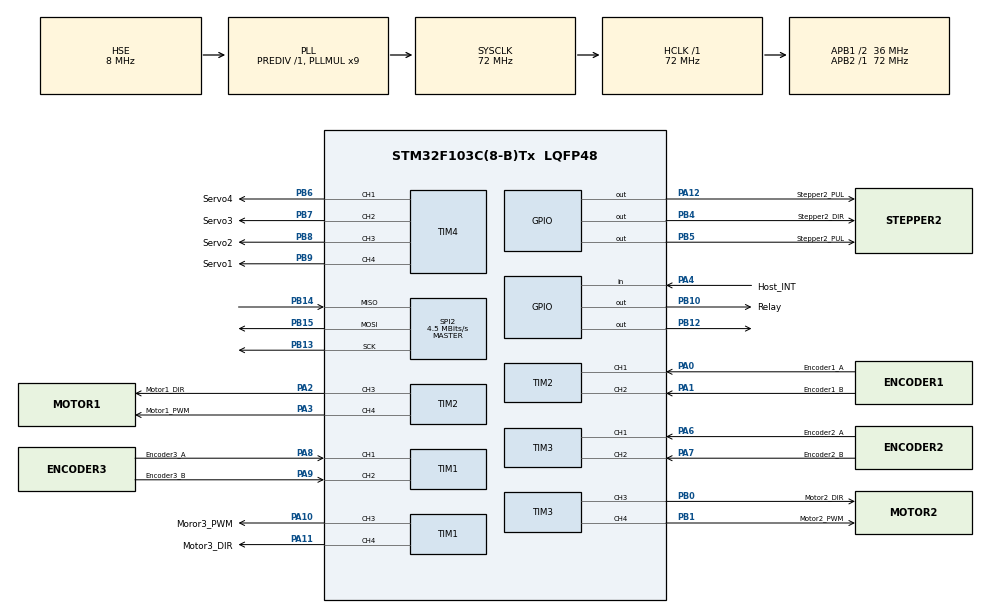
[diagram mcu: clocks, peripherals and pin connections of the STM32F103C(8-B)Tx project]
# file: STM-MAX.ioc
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Mcu.Family=STM32F1
Mcu.Name=STM32F103C(8-B)Tx
Mcu.Package=LQFP48
NVIC.PriorityGroup=NVIC_PRIORITYGROUP_4
PA0-WKUP.GPIO_Label=Encoder1_A
PA0-WKUP.Signal=S_TIM2_CH1_ETR
PA1.GPIO_Label=Encoder1_B
PA1.Signal=S_TIM2_CH2
PA10.GPIO_Label=Moror3_PWM
PA10.Signal=S_TIM1_CH3
PA11.GPIO_Label=Motor3_DIR
PA11.Signal=S_TIM1_CH4
PA12.GPIO_Label=Stepper2_PUL
PA12.Signal=GPIO_Output
PA13.Mode=Trace_Asynchronous_SW
PA13.Signal=SYS_JTMS-SWDIO
PA14.Mode=Trace_Asynchronous_SW
PA14.Signal=SYS_JTCK-SWCLK
PA2.GPIO_Label=Motor1_DIR
PA2.Signal=S_TIM2_CH3
PA3.GPIO_Label=Motor1_PWM
PA3.Signal=S_TIM2_CH4
PA4.GPIO_Label=Host_INT
PA4.GPIO_PuPd=GPIO_PULLUP
PA4.Signal=GPIO_Input
PA6.GPIO_Label=Encoder2_A
PA6.Signal=S_TIM3_CH1
PA7.GPIO_Label=Encoder2_B
PA7.Signal=S_TIM3_CH2
PA8.GPIO_Label=Encoder3_A
PA8.Signal=S_TIM1_CH1
PA9.GPIO_Label=Encoder3_B
PA9.Signal=S_TIM1_CH2
PB0.GPIO_Label=Motor2_DIR
PB0.Signal=S_TIM3_CH3
PB1.GPIO_Label=Motor2_PWM
PB1.Signal=S_TIM3_CH4
PB10.GPIO_Label=Relay
PB10.Signal=GPIO_Output
PB12.GPIO_PuPd=GPIO_PULLUP
PB12.Signal=GPIO_Output
PB13.Mode=Full_Duplex_Master
PB13.Signal=SPI2_SCK
PB14.Mode=Full_Duplex_Master
PB14.Signal=SPI2_MISO
PB15.Mode=Full_Duplex_Master
PB15.Signal=SPI2_MOSI
PB3.Mode=Trace_Asynchronous_SW
PB3.Signal=SYS_JTDO-TRACESWO
PB4.GPIO_Label=Stepper2_DIR
PB4.Signal=GPIO_Output
PB5.GPIO_Label=Stepper2_PUL
PB5.Signal=GPIO_Output
PB6.GPIO_Label=Servo4
PB6.Signal=S_TIM4_CH1
PB7.GPIO_Label=Servo3
PB7.Signal=S_TIM4_CH2
PB8.GPIO_Label=Servo2
PB8.Signal=S_TIM4_CH3
PB9.GPIO_Label=Servo1
PB9.Signal=S_TIM4_CH4
PD0-OSC_IN.Mode=HSE-External-Oscillator
PD0-OSC_IN.Signal=RCC_OSC_IN
PD1-OSC_OUT.Mode=HSE-External-Oscillator
PD1-OSC_OUT.Signal=RCC_OSC_OUT
ProjectManager.HeapSize=0x200
ProjectManager.StackSize=0x400
ProjectManager.TargetToolchain=STM32CubeIDE
RCC.AHBFreq_Value=72000000
RCC.APB1CLKDivider=RCC_HCLK_DIV2
RCC.APB1Freq_Value=36000000
RCC.APB1TimFreq_Value=72000000
RCC.APB2Freq_Value=72000000
RCC.APB2TimFreq_Value=72000000
RCC.HCLKFreq_Value=72000000
RCC.PLLMUL=RCC_PLL_MUL9
RCC.PLLSourceVirtual=RCC_PLLSOURCE_HSE
RCC.SYSCLKFreq_VALUE=72000000
RCC.SYSCLKSource=RCC_SYSCLKSOURCE_PLLCLK
RCC.USBFreq_Value=72000000
SH.S_TIM1_CH1.0=TIM1_CH1,Encoder_Interface
SH.S_TIM1_CH2.0=TIM1_CH2,Encoder_Interface
SH.S_TIM1_CH3.0=TIM1_CH3,PWM Generation3 CH3
SH.S_TIM1_CH4.0=TIM1_CH4,PWM Generation4 CH4
SH.S_TIM2_CH1_ETR.0=TIM2_CH1,Encoder_Interface
SH.S_TIM2_CH2.0=TIM2_CH2,Encoder_Interface
SH.S_TIM2_CH3.0=TIM2_CH3,PWM Generation3 CH3
SH.S_TIM2_CH4.0=TIM2_CH4,PWM Generation4 CH4
SH.S_TIM3_CH1.0=TIM3_CH1,Encoder_Interface
SH.S_TIM3_CH2.0=TIM3_CH2,Encoder_Interface
SH.S_TIM3_CH3.0=TIM3_CH3,PWM Generation3 CH3
SH.S_TIM3_CH4.0=TIM3_CH4,PWM Generation4 CH4
SH.S_TIM4_CH1.0=TIM4_CH1,PWM Generation1 CH1
SH.S_TIM4_CH2.0=TIM4_CH2,PWM Generation2 CH2
SH.S_TIM4_CH3.0=TIM4_CH3,PWM Generation3 CH3
SH.S_TIM4_CH4.0=TIM4_CH4,PWM Generation4 CH4
SPI2.BaudRatePrescaler=SPI_BAUDRATEPRESCALER_8
SPI2.CLKPhase=SPI_PHASE_1EDGE
SPI2.CLKPolarity=SPI_POLARITY_LOW
SPI2.CalculateBaudRate=4.5 MBits/s
SPI2.Direction=SPI_DIRECTION_2LINES
SPI2.Mode=SPI_MODE_MASTER
SPI2.VirtualType=VM_MASTER
TIM1.Channel-PWM\ Generation3\ CH3=TIM_CHANNEL_3
TIM1.Channel-PWM\ Generation4\ CH4=TIM_CHANNEL_4
TIM2.Channel-PWM\ Generation3\ CH3=TIM_CHANNEL_3
TIM2.Channel-PWM\ Generation4\ CH4=TIM_CHANNEL_4
TIM3.Channel-PWM\ Generation3\ CH3=TIM_CHANNEL_3
TIM3.Channel-PWM\ Generation4\ CH4=TIM_CHANNEL_4
TIM4.Channel-PWM\ Generation1\ CH1=TIM_CHANNEL_1
TIM4.Channel-PWM\ Generation2\ CH2=TIM_CHANNEL_2
TIM4.Channel-PWM\ Generation3\ CH3=TIM_CHANNEL_3
TIM4.Channel-PWM\ Generation4\ CH4=TIM_CHANNEL_4
VP_TIM4_VS_ClockSourceINT.Mode=Internal
board=custom

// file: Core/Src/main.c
/* USER CODE BEGIN Header */
/**
  ******************************************************************************
  * @file           : main.c
  * @brief          : Main program body
  ******************************************************************************
  * @attention
  *
  * <h2><center>&copy; Copyright (c) 2021 STMicroelectronics.
  * All rights reserved.</center></h2>
  *
  * This software component is licensed by ST under BSD 3-Clause license,
  * the "License"; You may not use this file except in compliance with the
  * License. You may obtain a copy of the License at:
  *                        opensource.org/licenses/BSD-3-Clause
  *
  ******************************************************************************
  */
/* USER CODE END Header */
#include "main.h"

/* USER CODE BEGIN Includes */
#include<stdio.h>
#include "max3421e.h"
#include "maxregisters.h"
#include "redGearUSB.h"
/* USER CODE END Includes */

SPI_HandleTypeDef hspi2;

TIM_HandleTypeDef htim1;
TIM_HandleTypeDef htim2;
TIM_HandleTypeDef htim3;
TIM_HandleTypeDef htim4;

void SystemClock_Config(void);
static void MX_GPIO_Init(void);
static void MX_SPI2_Init(void);
static void MX_TIM1_Init(void);
static void MX_TIM2_Init(void);
static void MX_TIM3_Init(void);
static void MX_TIM4_Init(void);
/* USER CODE BEGIN PFP */
// void regWr(uint8_t reg,uint8_t data);
// void regWrN(uint8_t reg,uint8_t* data, int nbytes);
// uint8_t regRd(uint8_t reg);
// uint8_t revisionRd();
// uint8_t maxInit();
/* USER CODE END PFP */

/* USER CODE BEGIN 0 */
int _write(int file, char *ptr, int len){
	for(int i = 0; i < len; i++) {
		ITM_SendChar((*ptr++));
	}
	return len;
}
/* USER CODE END 0 */

int main(void)
{

  /* MCU Configuration--------------------------------------------------------*/

  /* Reset of all peripherals, Initializes the Flash interface and the Systick. */
  HAL_Init();

  /* Configure the system clock */
  SystemClock_Config();

  /* Initialize all configured peripherals */
  MX_GPIO_Init();
  MX_SPI2_Init();
  MX_TIM1_Init();
  MX_TIM2_Init();
  MX_TIM3_Init();
  MX_TIM4_Init();
  /* USER CODE BEGIN 2 */
  if(maxInit(&hspi2)){
	  goto NO;
  }
  HAL_Delay(10);
//uint8_t HRSL = USB_enumerate(&hspi2); //This enumerates the USB and sets it's address to 0x01
//while(!(USBgetDescriptor(&hspi2)));
//printf("fin: %x\n",USBgetDescriptor(&hspi2));
//printf("meh\n");
//uint8_t HRSL = USB_enumerate(&hspi2);
  allEp[0].epAddr = 0x00;
	allEp[0].maxPktSize = 0x40;
	allEp[0].bmNakPower = 0x0e;
	allEp[1].epAddr = 0x01;
	allEp[1].epAttribs = 0x03;
	allEp[1].bmSndToggle = 0x00;
	allEp[1].bmRcvToggle = 0x00;
	allEp[1].maxPktSize = 0x20;
	allEp[1].bmNakPower = 0x01;
	allEp[2].epAddr = 0x02;
	allEp[2].epAttribs = 0x03;
	allEp[2].bmSndToggle = 0x00;
	allEp[2].bmRcvToggle = 0x00;
	allEp[2].maxPktSize = 0x20;
	allEp[2].bmNakPower = 0x01;
  uint8_t HRSL = RGinit(&hspi2);
  USBgetDescriptor(&hspi2);
  printf("Init: %x\n",HRSL);
  printf("Done! set address to %x\n",regRd(&hspi2,rPERADDR));
  // printf("HID descriptor: %x\n",RGgetHIDreportDescriptor(&hspi2));
  uint8_t temp;
  temp = RGpoll(&hspi2);
	  if(temp != 0x04){
		  printf("poll RG: %x\n",temp);
	  }
	  HAL_Delay(4);
//  for(int i = 0; i < 10; i++){
//
//  }
  /* USER CODE END 2 */

  /* Infinite loop */
  while (1)
  {

    /* USER CODE BEGIN 3 */
  }
  NO:
  printf("Couldn't connect to max!\n");
  /* USER CODE END 3 */
}

void SystemClock_Config(void)
{
  RCC_OscInitTypeDef RCC_OscInitStruct = {0};
  RCC_ClkInitTypeDef RCC_ClkInitStruct = {0};

  /** Initializes the RCC Oscillators according to the specified parameters
  * in the RCC_OscInitTypeDef structure.
  */
  RCC_OscInitStruct.OscillatorType = RCC_OSCILLATORTYPE_HSE;
  RCC_OscInitStruct.HSEState = RCC_HSE_ON;
  RCC_OscInitStruct.HSEPredivValue = RCC_HSE_PREDIV_DIV1;
  RCC_OscInitStruct.HSIState = RCC_HSI_ON;
  RCC_OscInitStruct.PLL.PLLState = RCC_PLL_ON;
  RCC_OscInitStruct.PLL.PLLSource = RCC_PLLSOURCE_HSE;
  RCC_OscInitStruct.PLL.PLLMUL = RCC_PLL_MUL9;
  if (HAL_RCC_OscConfig(&RCC_OscInitStruct) != HAL_OK)
  {
    Error_Handler();
  }
  /** Initializes the CPU, AHB and APB buses clocks
  */
  RCC_ClkInitStruct.ClockType = RCC_CLOCKTYPE_HCLK|RCC_CLOCKTYPE_SYSCLK
                              |RCC_CLOCKTYPE_PCLK1|RCC_CLOCKTYPE_PCLK2;
  RCC_ClkInitStruct.SYSCLKSource = RCC_SYSCLKSOURCE_PLLCLK;
  RCC_ClkInitStruct.AHBCLKDivider = RCC_SYSCLK_DIV1;
  RCC_ClkInitStruct.APB1CLKDivider = RCC_HCLK_DIV2;
  RCC_ClkInitStruct.APB2CLKDivider = RCC_HCLK_DIV1;

  if (HAL_RCC_ClockConfig(&RCC_ClkInitStruct, FLASH_LATENCY_2) != HAL_OK)
  {
    Error_Handler();
  }
}

static void MX_SPI2_Init(void)
{

  /* SPI2 parameter configuration*/
  hspi2.Instance = SPI2;
  hspi2.Init.Mode = SPI_MODE_MASTER;
  hspi2.Init.Direction = SPI_DIRECTION_2LINES;
  hspi2.Init.DataSize = SPI_DATASIZE_8BIT;
  hspi2.Init.CLKPolarity = SPI_POLARITY_LOW;
  hspi2.Init.CLKPhase = SPI_PHASE_1EDGE;
  hspi2.Init.NSS = SPI_NSS_SOFT;
  hspi2.Init.BaudRatePrescaler = SPI_BAUDRATEPRESCALER_8;
  hspi2.Init.FirstBit = SPI_FIRSTBIT_MSB;
  hspi2.Init.TIMode = SPI_TIMODE_DISABLE;
  hspi2.Init.CRCCalculation = SPI_CRCCALCULATION_DISABLE;
  hspi2.Init.CRCPolynomial = 10;
  if (HAL_SPI_Init(&hspi2) != HAL_OK)
  {
    Error_Handler();
  }

}

static void MX_TIM1_Init(void)
{

  TIM_Encoder_InitTypeDef sConfig = {0};
  TIM_MasterConfigTypeDef sMasterConfig = {0};
  TIM_OC_InitTypeDef sConfigOC = {0};
  TIM_BreakDeadTimeConfigTypeDef sBreakDeadTimeConfig = {0};

  htim1.Instance = TIM1;
  htim1.Init.Prescaler = 0;
  htim1.Init.CounterMode = TIM_COUNTERMODE_UP;
  htim1.Init.Period = 65535;
  htim1.Init.ClockDivision = TIM_CLOCKDIVISION_DIV1;
  htim1.Init.RepetitionCounter = 0;
  htim1.Init.AutoReloadPreload = TIM_AUTORELOAD_PRELOAD_DISABLE;
  if (HAL_TIM_PWM_Init(&htim1) != HAL_OK)
  {
    Error_Handler();
  }
  sConfig.EncoderMode = TIM_ENCODERMODE_TI1;
  sConfig.IC1Polarity = TIM_ICPOLARITY_RISING;
  sConfig.IC1Selection = TIM_ICSELECTION_DIRECTTI;
  sConfig.IC1Prescaler = TIM_ICPSC_DIV1;
  sConfig.IC1Filter = 0;
  sConfig.IC2Polarity = TIM_ICPOLARITY_RISING;
  sConfig.IC2Selection = TIM_ICSELECTION_DIRECTTI;
  sConfig.IC2Prescaler = TIM_ICPSC_DIV1;
  sConfig.IC2Filter = 0;
  if (HAL_TIM_Encoder_Init(&htim1, &sConfig) != HAL_OK)
  {
    Error_Handler();
  }
  sMasterConfig.MasterOutputTrigger = TIM_TRGO_RESET;
  sMasterConfig.MasterSlaveMode = TIM_MASTERSLAVEMODE_DISABLE;
  if (HAL_TIMEx_MasterConfigSynchronization(&htim1, &sMasterConfig) != HAL_OK)
  {
    Error_Handler();
  }
  sConfigOC.OCMode = TIM_OCMODE_PWM1;
  sConfigOC.Pulse = 0;
  sConfigOC.OCPolarity = TIM_OCPOLARITY_HIGH;
  sConfigOC.OCNPolarity = TIM_OCNPOLARITY_HIGH;
  sConfigOC.OCFastMode = TIM_OCFAST_DISABLE;
  sConfigOC.OCIdleState = TIM_OCIDLESTATE_RESET;
  sConfigOC.OCNIdleState = TIM_OCNIDLESTATE_RESET;
  if (HAL_TIM_PWM_ConfigChannel(&htim1, &sConfigOC, TIM_CHANNEL_3) != HAL_OK)
  {
    Error_Handler();
  }
  if (HAL_TIM_PWM_ConfigChannel(&htim1, &sConfigOC, TIM_CHANNEL_4) != HAL_OK)
  {
    Error_Handler();
  }
  sBreakDeadTimeConfig.OffStateRunMode = TIM_OSSR_DISABLE;
  sBreakDeadTimeConfig.OffStateIDLEMode = TIM_OSSI_DISABLE;
  sBreakDeadTimeConfig.LockLevel = TIM_LOCKLEVEL_OFF;
  sBreakDeadTimeConfig.DeadTime = 0;
  sBreakDeadTimeConfig.BreakState = TIM_BREAK_DISABLE;
  sBreakDeadTimeConfig.BreakPolarity = TIM_BREAKPOLARITY_HIGH;
  sBreakDeadTimeConfig.AutomaticOutput = TIM_AUTOMATICOUTPUT_DISABLE;
  if (HAL_TIMEx_ConfigBreakDeadTime(&htim1, &sBreakDeadTimeConfig) != HAL_OK)
  {
    Error_Handler();
  }
  HAL_TIM_MspPostInit(&htim1);

}

static void MX_TIM2_Init(void)
{

  TIM_Encoder_InitTypeDef sConfig = {0};
  TIM_MasterConfigTypeDef sMasterConfig = {0};
  TIM_OC_InitTypeDef sConfigOC = {0};

  htim2.Instance = TIM2;
  htim2.Init.Prescaler = 0;
  htim2.Init.CounterMode = TIM_COUNTERMODE_UP;
  htim2.Init.Period = 65535;
  htim2.Init.ClockDivision = TIM_CLOCKDIVISION_DIV1;
  htim2.Init.AutoReloadPreload = TIM_AUTORELOAD_PRELOAD_DISABLE;
  if (HAL_TIM_PWM_Init(&htim2) != HAL_OK)
  {
    Error_Handler();
  }
  sConfig.EncoderMode = TIM_ENCODERMODE_TI1;
  sConfig.IC1Polarity = TIM_ICPOLARITY_RISING;
  sConfig.IC1Selection = TIM_ICSELECTION_DIRECTTI;
  sConfig.IC1Prescaler = TIM_ICPSC_DIV1;
  sConfig.IC1Filter = 0;
  sConfig.IC2Polarity = TIM_ICPOLARITY_RISING;
  sConfig.IC2Selection = TIM_ICSELECTION_DIRECTTI;
  sConfig.IC2Prescaler = TIM_ICPSC_DIV1;
  sConfig.IC2Filter = 0;
  if (HAL_TIM_Encoder_Init(&htim2, &sConfig) != HAL_OK)
  {
    Error_Handler();
  }
  sMasterConfig.MasterOutputTrigger = TIM_TRGO_RESET;
  sMasterConfig.MasterSlaveMode = TIM_MASTERSLAVEMODE_DISABLE;
  if (HAL_TIMEx_MasterConfigSynchronization(&htim2, &sMasterConfig) != HAL_OK)
  {
    Error_Handler();
  }
  sConfigOC.OCMode = TIM_OCMODE_PWM1;
  sConfigOC.Pulse = 0;
  sConfigOC.OCPolarity = TIM_OCPOLARITY_HIGH;
  sConfigOC.OCFastMode = TIM_OCFAST_DISABLE;
  if (HAL_TIM_PWM_ConfigChannel(&htim2, &sConfigOC, TIM_CHANNEL_3) != HAL_OK)
  {
    Error_Handler();
  }
  if (HAL_TIM_PWM_ConfigChannel(&htim2, &sConfigOC, TIM_CHANNEL_4) != HAL_OK)
  {
    Error_Handler();
  }
  HAL_TIM_MspPostInit(&htim2);

}

static void MX_TIM3_Init(void)
{

  TIM_Encoder_InitTypeDef sConfig = {0};
  TIM_MasterConfigTypeDef sMasterConfig = {0};
  TIM_OC_InitTypeDef sConfigOC = {0};

  htim3.Instance = TIM3;
  htim3.Init.Prescaler = 0;
  htim3.Init.CounterMode = TIM_COUNTERMODE_UP;
  htim3.Init.Period = 65535;
  htim3.Init.ClockDivision = TIM_CLOCKDIVISION_DIV1;
  htim3.Init.AutoReloadPreload = TIM_AUTORELOAD_PRELOAD_DISABLE;
  if (HAL_TIM_PWM_Init(&htim3) != HAL_OK)
  {
    Error_Handler();
  }
  sConfig.EncoderMode = TIM_ENCODERMODE_TI1;
  sConfig.IC1Polarity = TIM_ICPOLARITY_RISING;
  sConfig.IC1Selection = TIM_ICSELECTION_DIRECTTI;
  sConfig.IC1Prescaler = TIM_ICPSC_DIV1;
  sConfig.IC1Filter = 0;
  sConfig.IC2Polarity = TIM_ICPOLARITY_RISING;
  sConfig.IC2Selection = TIM_ICSELECTION_DIRECTTI;
  sConfig.IC2Prescaler = TIM_ICPSC_DIV1;
  sConfig.IC2Filter = 0;
  if (HAL_TIM_Encoder_Init(&htim3, &sConfig) != HAL_OK)
  {
    Error_Handler();
  }
  sMasterConfig.MasterOutputTrigger = TIM_TRGO_RESET;
  sMasterConfig.MasterSlaveMode = TIM_MASTERSLAVEMODE_DISABLE;
  if (HAL_TIMEx_MasterConfigSynchronization(&htim3, &sMasterConfig) != HAL_OK)
  {
    Error_Handler();
  }
  sConfigOC.OCMode = TIM_OCMODE_PWM1;
  sConfigOC.Pulse = 0;
  sConfigOC.OCPolarity = TIM_OCPOLARITY_HIGH;
  sConfigOC.OCFastMode = TIM_OCFAST_DISABLE;
  if (HAL_TIM_PWM_ConfigChannel(&htim3, &sConfigOC, TIM_CHANNEL_3) != HAL_OK)
  {
    Error_Handler();
  }
  if (HAL_TIM_PWM_ConfigChannel(&htim3, &sConfigOC, TIM_CHANNEL_4) != HAL_OK)
  {
    Error_Handler();
  }
  HAL_TIM_MspPostInit(&htim3);

}

static void MX_TIM4_Init(void)
{

  TIM_ClockConfigTypeDef sClockSourceConfig = {0};
  TIM_MasterConfigTypeDef sMasterConfig = {0};
  TIM_OC_InitTypeDef sConfigOC = {0};

  htim4.Instance = TIM4;
  htim4.Init.Prescaler = 0;
  htim4.Init.CounterMode = TIM_COUNTERMODE_UP;
  htim4.Init.Period = 65535;
  htim4.Init.ClockDivision = TIM_CLOCKDIVISION_DIV1;
  htim4.Init.AutoReloadPreload = TIM_AUTORELOAD_PRELOAD_DISABLE;
  if (HAL_TIM_Base_Init(&htim4) != HAL_OK)
  {
    Error_Handler();
  }
  sClockSourceConfig.ClockSource = TIM_CLOCKSOURCE_INTERNAL;
  if (HAL_TIM_ConfigClockSource(&htim4, &sClockSourceConfig) != HAL_OK)
  {
    Error_Handler();
  }
  if (HAL_TIM_PWM_Init(&htim4) != HAL_OK)
  {
    Error_Handler();
  }
  sMasterConfig.MasterOutputTrigger = TIM_TRGO_RESET;
  sMasterConfig.MasterSlaveMode = TIM_MASTERSLAVEMODE_DISABLE;
  if (HAL_TIMEx_MasterConfigSynchronization(&htim4, &sMasterConfig) != HAL_OK)
  {
    Error_Handler();
  }
  sConfigOC.OCMode = TIM_OCMODE_PWM1;
  sConfigOC.Pulse = 0;
  sConfigOC.OCPolarity = TIM_OCPOLARITY_HIGH;
  sConfigOC.OCFastMode = TIM_OCFAST_DISABLE;
  if (HAL_TIM_PWM_ConfigChannel(&htim4, &sConfigOC, TIM_CHANNEL_1) != HAL_OK)
  {
    Error_Handler();
  }
  if (HAL_TIM_PWM_ConfigChannel(&htim4, &sConfigOC, TIM_CHANNEL_2) != HAL_OK)
  {
    Error_Handler();
  }
  if (HAL_TIM_PWM_ConfigChannel(&htim4, &sConfigOC, TIM_CHANNEL_3) != HAL_OK)
  {
    Error_Handler();
  }
  if (HAL_TIM_PWM_ConfigChannel(&htim4, &sConfigOC, TIM_CHANNEL_4) != HAL_OK)
  {
    Error_Handler();
  }
  HAL_TIM_MspPostInit(&htim4);

}

static void MX_GPIO_Init(void)
{
  GPIO_InitTypeDef GPIO_InitStruct = {0};

  /* GPIO Ports Clock Enable */
  __HAL_RCC_GPIOD_CLK_ENABLE();
  __HAL_RCC_GPIOA_CLK_ENABLE();
  __HAL_RCC_GPIOB_CLK_ENABLE();

  /*Configure GPIO pin Output Level */
  HAL_GPIO_WritePin(GPIOB, Relay_Pin|GPIO_PIN_12|Stepper2_DIR_Pin|Stepper2_PULB5_Pin, GPIO_PIN_RESET);

  /*Configure GPIO pin Output Level */
  HAL_GPIO_WritePin(Stepper2_PUL_GPIO_Port, Stepper2_PUL_Pin, GPIO_PIN_RESET);

  /*Configure GPIO pin : Host_INT_Pin */
  GPIO_InitStruct.Pin = Host_INT_Pin;
  GPIO_InitStruct.Mode = GPIO_MODE_INPUT;
  GPIO_InitStruct.Pull = GPIO_PULLUP;
  HAL_GPIO_Init(Host_INT_GPIO_Port, &GPIO_InitStruct);

  /*Configure GPIO pins : Relay_Pin Stepper2_DIR_Pin Stepper2_PULB5_Pin */
  GPIO_InitStruct.Pin = Relay_Pin|Stepper2_DIR_Pin|Stepper2_PULB5_Pin;
  GPIO_InitStruct.Mode = GPIO_MODE_OUTPUT_PP;
  GPIO_InitStruct.Pull = GPIO_NOPULL;
  GPIO_InitStruct.Speed = GPIO_SPEED_FREQ_LOW;
  HAL_GPIO_Init(GPIOB, &GPIO_InitStruct);

  /*Configure GPIO pin : PB12 */
  GPIO_InitStruct.Pin = GPIO_PIN_12;
  GPIO_InitStruct.Mode = GPIO_MODE_OUTPUT_PP;
  GPIO_InitStruct.Pull = GPIO_PULLUP;
  GPIO_InitStruct.Speed = GPIO_SPEED_FREQ_LOW;
  HAL_GPIO_Init(GPIOB, &GPIO_InitStruct);

  /*Configure GPIO pin : Stepper2_PUL_Pin */
  GPIO_InitStruct.Pin = Stepper2_PUL_Pin;
  GPIO_InitStruct.Mode = GPIO_MODE_OUTPUT_PP;
  GPIO_InitStruct.Pull = GPIO_NOPULL;
  GPIO_InitStruct.Speed = GPIO_SPEED_FREQ_LOW;
  HAL_GPIO_Init(Stepper2_PUL_GPIO_Port, &GPIO_InitStruct);

}

/* USER CODE BEGIN 4 */
//Write a register
// void regWr(uint8_t reg,uint8_t data){
// 	  HAL_GPIO_WritePin(GPIOB,GPIO_PIN_12,GPIO_PIN_RESET);
// 	  uint8_t txData = (reg<<3)|0x02;
// 	  HAL_SPI_Transmit(&hspi2,&txData,1,HAL_MAX_DELAY);
// 	  txData = data;
// 	  HAL_SPI_Transmit(&hspi2,&txData,1,HAL_MAX_DELAY);
// 	  HAL_GPIO_WritePin(GPIOB,GPIO_PIN_12,GPIO_PIN_SET);
// }

// //Write nbytes to a register
// void regWrN(uint8_t reg,uint8_t* data, int nbytes){
// 	HAL_GPIO_WritePin(GPIOB,GPIO_PIN_12,GPIO_PIN_RESET);
// 	uint8_t txData = (reg<<3)|0x02;
// 	HAL_SPI_Transmit(&hspi2,&txData,1,HAL_MAX_DELAY);
// 	HAL_SPI_Transmit(&hspi2,data,nbytes,HAL_MAX_DELAY);
// 	HAL_GPIO_WritePin(GPIOB, GPIO_PIN_12,GPIO_PIN_SET);
// }

// //read a byte from a register
// uint8_t regRd(uint8_t reg){
// 	HAL_GPIO_WritePin(GPIOB,GPIO_PIN_12,GPIO_PIN_RESET);
// 	//register to be read
// 	uint8_t rxData = (reg<<3);
// 	HAL_SPI_Transmit(&hspi2,&rxData,1,HAL_MAX_DELAY);
// 	HAL_SPI_Receive(&hspi2,&rxData,1,HAL_MAX_DELAY);
// 	HAL_GPIO_WritePin(GPIOB,GPIO_PIN_12,GPIO_PIN_SET);

// 	return rxData;
// }

// //read the revision register
// uint8_t revisionRd(){
// 	  regWr(17, 0x19);
// 	  return regRd(18);
// }
/* USER CODE END 4 */

void Error_Handler(void)
{
}

/************************ (C) COPYRIGHT STMicroelectronics *****END OF FILE****/
